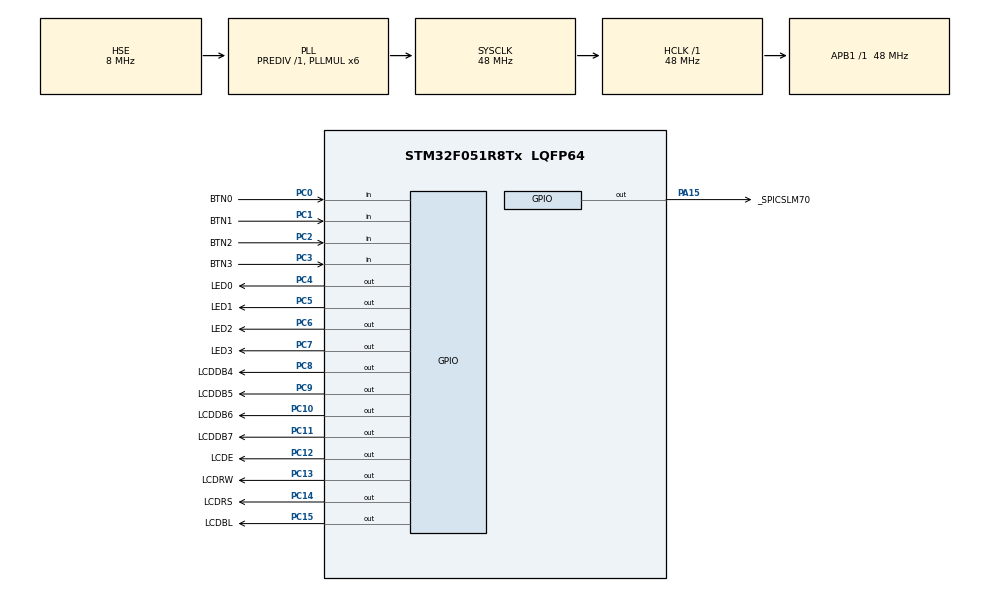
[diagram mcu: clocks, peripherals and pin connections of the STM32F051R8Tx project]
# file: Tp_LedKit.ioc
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Mcu.Family=STM32F0
Mcu.Name=STM32F051R8Tx
Mcu.Package=LQFP64
PA13.Mode=Serial_Wire
PA13.Signal=SYS_SWDIO
PA14.Mode=Serial_Wire
PA14.Signal=SYS_SWCLK
PA15.GPIO_Label=_SPICSLM70
PA15.PinState=GPIO_PIN_SET
PA15.Signal=GPIO_Output
PA5.GPIO_Label=SPISCK
PA5.Signal=SPI1_SCK
PA6.GPIO_Label=SPIMISO
PA6.Signal=SPI1_MISO
PC0.GPIO_Label=BTN0
PC0.Signal=GPIO_Input
PC1.GPIO_Label=BTN1
PC1.Signal=GPIO_Input
PC10.GPIO_Label=LCDDB6
PC10.Signal=GPIO_Output
PC11.GPIO_Label=LCDDB7
PC11.Signal=GPIO_Output
PC12.GPIO_Label=LCDE
PC12.Signal=GPIO_Output
PC13.GPIO_Label=LCDRW
PC13.Signal=GPIO_Output
PC14-OSC32_IN.GPIO_Label=LCDRS
PC14-OSC32_IN.Signal=GPIO_Output
PC15-OSC32_OUT.GPIO_Label=LCDBL
PC15-OSC32_OUT.Signal=GPIO_Output
PC2.GPIO_Label=BTN2
PC2.Signal=GPIO_Input
PC3.GPIO_Label=BTN3
PC3.Signal=GPIO_Input
PC4.GPIO_Label=LED0
PC4.PinState=GPIO_PIN_SET
PC4.Signal=GPIO_Output
PC5.GPIO_Label=LED1
PC5.PinState=GPIO_PIN_SET
PC5.Signal=GPIO_Output
PC6.GPIO_Label=LED2
PC6.PinState=GPIO_PIN_SET
PC6.Signal=GPIO_Output
PC7.GPIO_Label=LED3
PC7.PinState=GPIO_PIN_SET
PC7.Signal=GPIO_Output
PC8.GPIO_Label=LCDDB4
PC8.Signal=GPIO_Output
PC9.GPIO_Label=LCDDB5
PC9.Signal=GPIO_Output
PF0-OSC_IN.GPIO_Label=OSCIN
PF0-OSC_IN.Mode=HSE-External-Oscillator
PF0-OSC_IN.Signal=RCC_OSC_IN
PF1-OSC_OUT.GPIO_Label=OSCOUT
PF1-OSC_OUT.Mode=HSE-External-Oscillator
PF1-OSC_OUT.Signal=RCC_OSC_OUT
PF6.Signal=I2C2_SCL
PF7.Signal=I2C2_SDA
ProjectManager.HeapSize=0x200
ProjectManager.StackSize=0x400
ProjectManager.TargetToolchain=MDK-ARM V5
RCC.AHBFreq_Value=48000000
RCC.APB1Freq_Value=48000000
RCC.APB1TimFreq_Value=48000000
RCC.EnbaleCSS=true
RCC.HCLKFreq_Value=48000000
RCC.PLLMUL=RCC_PLL_MUL6
RCC.PLLSourceVirtual=RCC_PLLSOURCE_HSE
RCC.SYSCLKFreq_VALUE=48000000
RCC.SYSCLKSource=RCC_SYSCLKSOURCE_PLLCLK
board=test01_blink

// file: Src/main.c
/* USER CODE BEGIN Header */
/**
  ******************************************************************************
  * @file           : main.c
  * @brief          : Main program body
  ******************************************************************************
  * Canevas pour le TP microcontrТleur LedKit
  * Cible : Kit ARM Cortex M0, carte 17400
  *
  * Auteur /date : SCA / 18.12.2020
  *
  * Etudiant(s) :
  *
  ******************************************************************************
  */
/* USER CODE END Header */
#include "main.h"
#include "gpio.h"

/* USER CODE BEGIN Includes */

#include "17400.h"
#include "stm32delays.h"
#include "stm32driverlcd.h"

/* USER CODE END Includes */

/* USER CODE BEGIN PD */
#define MAIN_DELAY    25

/* USER CODE END PD */

void SystemClock_Config(void);

int main(void)
{
  /* USER CODE BEGIN 1 */

	//variables locales
	uint8_t i;

	// what state is the machine
	uint8_t mod = 1;

	//Chenillard
	uint32_t byV_Time = 50;

	//hold the sitches values
	char byT_Sw[4] = {0,0,0,0};
	//past values
	char byT_SwP[4] = {0,0,0,0};

  /* USER CODE END 1 */

  /* MCU Configuration--------------------------------------------------------*/

  /* Reset of all peripherals, Initializes the Flash interface and the Systick. */
  HAL_Init();

  /* Configure the system clock */
  SystemClock_Config();

  /* Initialize all configured peripherals */
  MX_GPIO_Init();
  /* USER CODE BEGIN 2 */

	//Init LCD
	lcd_init();
	printf_lcd("TP LedKit 2025");
	lcd_gotoxy(1,2);
	printf_lcd("Luis & Henri");
	lcd_bl_on();

	//selon donnИe : durant 4 sec Ю l'init, chenillard D0>D3 250ms durant 4 s
	for(i=0 ; i<10 ; i++)
	{
		HAL_GPIO_WritePin(LED0_PORT, LED0_BIT, GPIO_PIN_RESET);
		delay_ms(50);
		HAL_GPIO_WritePin(LED0_PORT, LED0_BIT, GPIO_PIN_SET);
		HAL_GPIO_WritePin(LED1_PORT, LED1_BIT, GPIO_PIN_RESET);
		delay_ms(50);
		HAL_GPIO_WritePin(LED1_PORT, LED1_BIT, GPIO_PIN_SET);
		HAL_GPIO_WritePin(LED2_PORT, LED2_BIT, GPIO_PIN_RESET);
		delay_ms(50);
		HAL_GPIO_WritePin(LED2_PORT, LED2_BIT, GPIO_PIN_SET);
		HAL_GPIO_WritePin(LED3_PORT, LED3_BIT, GPIO_PIN_RESET);
		delay_ms(50);
		HAL_GPIO_WritePin(LED3_PORT, LED3_BIT, GPIO_PIN_SET);
	}

	//affichage initial

	//Init LCD
	lcd_init();
	lcd_clearLine(2);
  lcd_gotoxy(1, 2);
  printf_lcd("Duree : -");
  /* USER CODE END 2 */

  /* Infinite loop */
  while (1)
  {

    /* USER CODE BEGIN 3 */

		//save paste state of switch
		byT_SwP[0] = byT_Sw[0];
		byT_SwP[1] = byT_Sw[1];
		byT_SwP[2] = byT_Sw[2];
		byT_SwP[3] = byT_Sw[3];

		// Reading the switches
		byT_Sw[0] = HAL_GPIO_ReadPin(BTN0_GPIO_Port, BTN0_BIT);
		byT_Sw[1] = HAL_GPIO_ReadPin(BTN1_GPIO_Port, BTN1_BIT);
		byT_Sw[2] = HAL_GPIO_ReadPin(BTN2_GPIO_Port, BTN2_BIT);
		byT_Sw[3] = HAL_GPIO_ReadPin(BTN3_GPIO_Port, BTN3_BIT);

		// Test if user whant to change mod
		if(((byT_Sw[0] ==0) && (byT_SwP[0] == 1)) && (mod > 1))
		{
			mod--;
			//Reset des time
			byV_Time = 100;
		}

		if(((byT_Sw[1] == 0) && (byT_SwP[1] == 1)) && (mod < 5))
		{
			mod++;
			//Reset des time
			byV_Time = 100;
		}

		//Chenillard speed changer
		if((mod == 3) || (mod == 4))
		{
			if((byT_Sw[2] != byT_SwP[2]) && (byV_Time > 200))
			{
				byV_Time = byV_Time - 50;
			}
			if((byT_Sw[3] != byT_SwP[3]) && (byV_Time < 800))
			{
				byV_Time = byV_Time + 50;
			}
		}
		else if(mod == 5)
		{
			if((byT_Sw[2] != byT_SwP[2]) && (byV_Time > 100))
			{
				byV_Time = byV_Time - 100;
			}
			if((byT_Sw[3] != byT_SwP[3]) && (byV_Time < 1000))
			{
				byV_Time = byV_Time + 100;
			}
		}

		//*** GESTION BOUTONS ET AFFICHAGE ***

		//*** GESTION LEDS EN FONCTION DU MODE ***
		switch(mod)
		{

			case 1:
				lcd_gotoxy(0,1);
				printf_lcd("Mod :1");
				lcd_clearLine(2);
				lcd_gotoxy(1, 2);
				printf_lcd("Duree : -");
				//LEDS OFF
				HAL_GPIO_WritePin(LED0_PORT, LED0_BIT, GPIO_PIN_SET);

				HAL_GPIO_WritePin(LED1_PORT, LED1_BIT, GPIO_PIN_SET);

				HAL_GPIO_WritePin(LED2_PORT, LED2_BIT, GPIO_PIN_SET);

				HAL_GPIO_WritePin(LED3_PORT, LED3_BIT, GPIO_PIN_SET);
			break;

			case 2:
				lcd_gotoxy(0,1);
				printf_lcd("Mod :2");
				lcd_clearLine(2);
				lcd_gotoxy(1, 2);
				printf_lcd("Duree : -");
				//LEDS ON
				HAL_GPIO_WritePin(LED0_PORT, LED0_BIT, GPIO_PIN_RESET);

				HAL_GPIO_WritePin(LED1_PORT, LED1_BIT, GPIO_PIN_RESET);

				HAL_GPIO_WritePin(LED2_PORT, LED2_BIT, GPIO_PIN_RESET);

				HAL_GPIO_WritePin(LED3_PORT, LED3_BIT, GPIO_PIN_RESET);

			break;

			case 3:
				lcd_gotoxy(0,1);
				printf_lcd("Mod :3");
				lcd_clearLine(2);
				lcd_gotoxy(1, 2);
				printf_lcd("Duree : byV_Time ");
				//lcd_gotoxy(0,2);
				//printf_lcd("Duree: byV_Time");
				//Chenillard

				HAL_GPIO_WritePin(LED0_PORT, LED0_BIT, GPIO_PIN_RESET);
				delay_ms(byV_Time);
				HAL_GPIO_WritePin(LED0_PORT, LED0_BIT, GPIO_PIN_SET);
				HAL_GPIO_WritePin(LED1_PORT, LED1_BIT, GPIO_PIN_RESET);
				delay_ms(byV_Time);
				HAL_GPIO_WritePin(LED1_PORT, LED1_BIT, GPIO_PIN_SET);
				HAL_GPIO_WritePin(LED2_PORT, LED2_BIT, GPIO_PIN_RESET);
			  delay_ms(byV_Time);

			  HAL_GPIO_WritePin(LED2_PORT, LED2_BIT, GPIO_PIN_SET);
				HAL_GPIO_WritePin(LED3_PORT, LED3_BIT, GPIO_PIN_RESET);
				delay_ms(byV_Time);
				HAL_GPIO_WritePin(LED3_PORT, LED3_BIT, GPIO_PIN_SET);
				delay_ms(byV_Time);

			break;

			case 4:
				lcd_gotoxy(0,1);
				printf_lcd("Mod :4");
				lcd_clearLine(2);
				lcd_gotoxy(1, 2);
				printf_lcd("Duree : byV_Time ");

				//printf_lcd("Duree: byV_Time");
				//Chenillard

				//printf_lcd("Duree: <");
				HAL_GPIO_WritePin(LED3_PORT, LED3_BIT, GPIO_PIN_SET);
				delay_ms(byV_Time);
				HAL_GPIO_WritePin(LED3_PORT, LED3_BIT, GPIO_PIN_RESET);
				HAL_GPIO_WritePin(LED2_PORT, LED2_BIT, GPIO_PIN_SET);
				delay_ms(byV_Time);
				HAL_GPIO_WritePin(LED2_PORT, LED2_BIT, GPIO_PIN_RESET);
				HAL_GPIO_WritePin(LED1_PORT, LED1_BIT, GPIO_PIN_SET);
				delay_ms(byV_Time);
				HAL_GPIO_WritePin(LED1_PORT, LED1_BIT, GPIO_PIN_RESET);
				HAL_GPIO_WritePin(LED0_PORT, LED0_BIT, GPIO_PIN_SET);
				delay_ms(byV_Time);
				HAL_GPIO_WritePin(LED0_PORT, LED0_BIT, GPIO_PIN_RESET);

			break;

			// Mode 5 la fИte
			case 5:

				lcd_gotoxy(0,1);
				printf_lcd("Mod :5");
				lcd_clearLine(2);
				lcd_gotoxy(1, 2);
				printf_lcd("Duree : byV_Time ");

				//Clignotement
		  	HAL_GPIO_WritePin(LED3_PORT, LED3_BIT, GPIO_PIN_RESET);
				HAL_GPIO_WritePin(LED2_PORT, LED2_BIT, GPIO_PIN_RESET);
				HAL_GPIO_WritePin(LED1_PORT, LED1_BIT, GPIO_PIN_RESET);
				HAL_GPIO_WritePin(LED0_PORT, LED0_BIT, GPIO_PIN_RESET);
				delay_ms(byV_Time);

				HAL_GPIO_WritePin(LED3_PORT, LED3_BIT, GPIO_PIN_SET);
			  HAL_GPIO_WritePin(LED2_PORT, LED2_BIT, GPIO_PIN_SET);
				HAL_GPIO_WritePin(LED1_PORT, LED1_BIT, GPIO_PIN_SET);
				HAL_GPIO_WritePin(LED0_PORT, LED0_BIT, GPIO_PIN_SET);

			break;
		}

		switch (byV_Time)
		{
			case 1:

			lcd_clearLine(2);
			printf_lcd("Duree : byV_Time ");

			break;

			case 2:

			lcd_clearLine(2);
			printf_lcd("Duree : byV_Time ");

			break;
		}

		//*** DELAI GLOBAL DANS LA BOUCLE (LA SEULE ATTENTE) ***
		delay_ms(MAIN_DELAY);
  }
  /* USER CODE END 3 */
}

void SystemClock_Config(void)
{
  RCC_OscInitTypeDef RCC_OscInitStruct = {0};
  RCC_ClkInitTypeDef RCC_ClkInitStruct = {0};

  /** Initializes the RCC Oscillators according to the specified parameters
  * in the RCC_OscInitTypeDef structure.
  */
  RCC_OscInitStruct.OscillatorType = RCC_OSCILLATORTYPE_HSE;
  RCC_OscInitStruct.HSEState = RCC_HSE_ON;
  RCC_OscInitStruct.PLL.PLLState = RCC_PLL_ON;
  RCC_OscInitStruct.PLL.PLLSource = RCC_PLLSOURCE_HSE;
  RCC_OscInitStruct.PLL.PLLMUL = RCC_PLL_MUL6;
  RCC_OscInitStruct.PLL.PREDIV = RCC_PREDIV_DIV1;
  if (HAL_RCC_OscConfig(&RCC_OscInitStruct) != HAL_OK)
  {
    Error_Handler();
  }
  /** Initializes the CPU, AHB and APB buses clocks
  */
  RCC_ClkInitStruct.ClockType = RCC_CLOCKTYPE_HCLK|RCC_CLOCKTYPE_SYSCLK
                              |RCC_CLOCKTYPE_PCLK1;
  RCC_ClkInitStruct.SYSCLKSource = RCC_SYSCLKSOURCE_PLLCLK;
  RCC_ClkInitStruct.AHBCLKDivider = RCC_SYSCLK_DIV1;
  RCC_ClkInitStruct.APB1CLKDivider = RCC_HCLK_DIV1;

  if (HAL_RCC_ClockConfig(&RCC_ClkInitStruct, FLASH_LATENCY_1) != HAL_OK)
  {
    Error_Handler();
  }
  /** Enables the Clock Security System
  */
  HAL_RCC_EnableCSS();
}

void Error_Handler(void)
{
}

/************************ (C) COPYRIGHT STMicroelectronics *****END OF FILE****/
